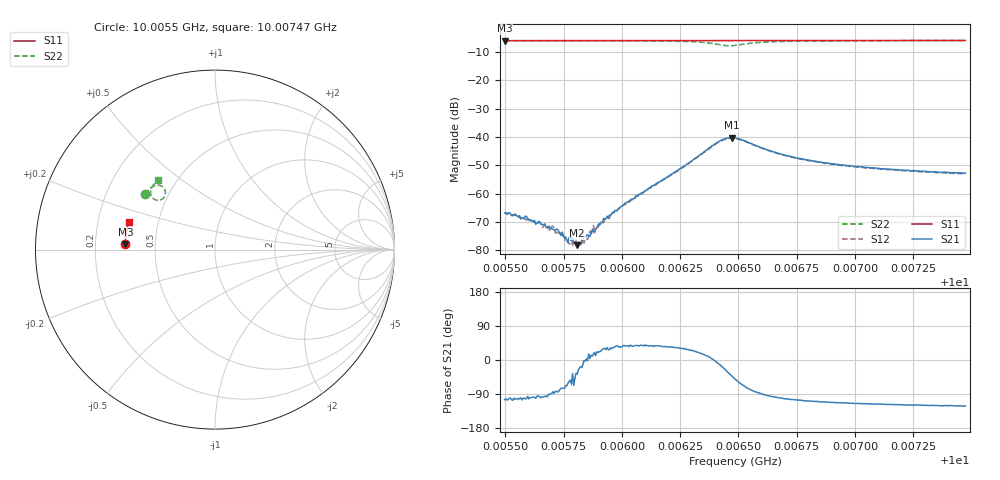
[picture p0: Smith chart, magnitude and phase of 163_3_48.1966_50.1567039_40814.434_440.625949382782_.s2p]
#  HZ  S  RI  R  50.00
! Rohde & Schwarz Vector Network Analyzer
! Rohde-Schwarz,ZNB20-2Port,1311601062101988,3.16
! Created: UTC 3/20/2024, 11:43:19 AM
! freq[Hz]  re:S11  im:S11  re:S21  im:S21  re:S12  im:S12  re:S22  im:S22
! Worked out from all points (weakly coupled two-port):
!   401 points, 10.0055 GHz to 10.00747 GHz, reference 50 ohm
!   highest |S21| = -40.27 dB at 10.00647 GHz (marker M1); lowest = -78.3 dB at 10.00581 GHz (marker M2)
!   lowest |S11| = -6.0 dB at 10.0055 GHz (marker M3), VSWR 3.00, Z = 16.7 + j1.33 ohm
!   |S11| at or under -10 dB: nowhere
!   |S22| runs from -7.8 to -6.0 dB; largest |S21 - S12| = 0.0006
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1.0005497e10  -0.4996 0.0299  -0.000115 -0.000441  -8.83e-05 -0.000444  -0.3902 0.3073
1.0005611e10  -0.4995 0.0373  -5.6e-05 -0.000341  -3.9e-05 -0.000326  -0.3849 0.3141
1.0005719e10  -0.4992 0.0444  3.11e-05 -0.000235  2.92e-05 -0.000197  -0.3797 0.3207
1.0005759e10  -0.4989 0.0469  6.63e-05 -0.000157  4.87e-05 -0.000164  -0.3777 0.3232
1.0005769e10  -0.499 0.0475  6.48e-05 -0.000119  7.84e-05 -0.000119  -0.3773 0.324
1.0005793e10  -0.4986 0.0493  5.07e-05 -0.000121  9.62e-05 -8.48e-05  -0.3759 0.3254
1.0005798e10  -0.4987 0.0495  9.11e-05 -0.000103  0.0001 -9.8e-05  -0.3757 0.3257
1.0005808e10  -0.4986 0.0502  9.7e-05 -7.38e-05  9.31e-05 -7.3e-05  -0.3751 0.3263
1.0005818e10  -0.4985 0.0509  0.000128 -4.88e-05  0.000136 -4.7e-05  -0.3744 0.3271
1.0005828e10  -0.4986 0.0514  0.000144 -5.2e-05  0.000128 -2.6e-05  -0.3739 0.3276
1.0005848e10  -0.4985 0.0527  0.000182 8.76e-06  0.000156 6.72e-06  -0.3728 0.3289
1.0005872e10  -0.4983 0.0544  0.000222 3.91e-05  0.000202 6.88e-05  -0.3712 0.3305
1.0005927e10  -0.4981 0.0578  0.000305 0.000181  0.000298 0.000174  -0.368 0.3341
1.0005961e10  -0.4979 0.06  0.000397 0.000255  0.000373 0.000258  -0.3657 0.3365
1.0006159e10  -0.4967 0.0728  0.00126 0.000963  0.0012 0.001  -0.3474 0.3509
1.0006411e10  -0.4937 0.089  0.00801 -0.00109  0.00787 -0.00069  -0.2776 0.3281
1.000647e10  -0.4931 0.0922  0.00722 -0.00647  0.00737 -0.00594  -0.2944 0.2817
1.0006485e10  -0.493 0.0931  0.00613 -0.00741  0.00643 -0.0069  -0.3064 0.2762
1.0006658e10  -0.4919 0.104  -0.000749 -0.00528  -0.000461 -0.00521  -0.3597 0.3197
1.0006816e10  -0.4901 0.1143  -0.0012 -0.00359  -0.00102 -0.00355  -0.3533 0.3442
1.0007147e10  -0.4854 0.1351  -0.00125 -0.0024  -0.00113 -0.0024  -0.3351 0.3702
1.0007473e10  -0.4801 0.1555  -0.00119 -0.00198  -0.00109 -0.00195  -0.318 0.3882
